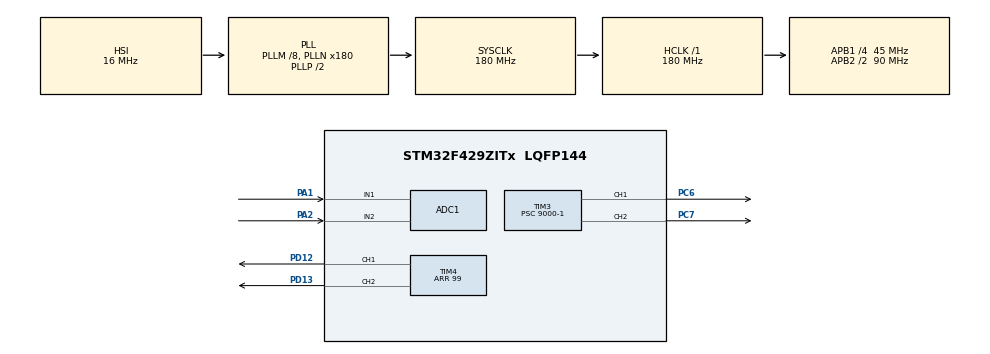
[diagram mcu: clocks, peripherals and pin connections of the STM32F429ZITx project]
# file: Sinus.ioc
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ADC1.Channel-0\#ChannelRegularConversion=ADC_CHANNEL_TEMPSENSOR
ADC1.NbrOfConversionFlag=1
ADC1.Rank-0\#ChannelRegularConversion=1
ADC1.SamplingTime-0\#ChannelRegularConversion=ADC_SAMPLETIME_56CYCLES
ADC1.master=1
Mcu.Family=STM32F4
Mcu.Name=STM32F429ZITx
Mcu.Package=LQFP144
NVIC.PriorityGroup=NVIC_PRIORITYGROUP_4
PA1.Signal=ADCx_IN1
PA13.Mode=Serial_Wire
PA13.Signal=SYS_JTMS-SWDIO
PA14.Mode=Serial_Wire
PA14.Signal=SYS_JTCK-SWCLK
PA2.Signal=ADCx_IN2
PC6.Signal=S_TIM3_CH1
PC7.Signal=S_TIM3_CH2
PD12.Signal=S_TIM4_CH1
PD13.Signal=S_TIM4_CH2
PH0/OSC_IN.Mode=HSE-External-Oscillator
PH0/OSC_IN.Signal=RCC_OSC_IN
PH1/OSC_OUT.Mode=HSE-External-Oscillator
PH1/OSC_OUT.Signal=RCC_OSC_OUT
ProjectManager.HeapSize=0x200
ProjectManager.StackSize=0x400
ProjectManager.TargetToolchain=STM32CubeIDE
RCC.48MHZClocksFreq_Value=90000000
RCC.AHBFreq_Value=180000000
RCC.APB1CLKDivider=RCC_HCLK_DIV4
RCC.APB1Freq_Value=45000000
RCC.APB1TimFreq_Value=90000000
RCC.APB2CLKDivider=RCC_HCLK_DIV2
RCC.APB2Freq_Value=90000000
RCC.APB2TimFreq_Value=180000000
RCC.CortexFreq_Value=180000000
RCC.HCLKFreq_Value=180000000
RCC.HSE_VALUE=8000000
RCC.HSI_VALUE=16000000
RCC.LSE_VALUE=32768
RCC.PLLM=8
RCC.PLLN=180
RCC.SYSCLKFreq_VALUE=180000000
RCC.SYSCLKSource=RCC_SYSCLKSOURCE_PLLCLK
RCC.VCOOutputFreq_Value=360000000
SH.ADCx_IN1.0=ADC1_IN1,IN1
SH.ADCx_IN2.0=ADC1_IN2,IN2
SH.S_TIM3_CH1.0=TIM3_CH1,PWM Generation1 CH1
SH.S_TIM3_CH2.0=TIM3_CH2,PWM Generation2 CH2
SH.S_TIM4_CH1.0=TIM4_CH1,PWM Generation1 CH1
SH.S_TIM4_CH2.0=TIM4_CH2,PWM Generation2 CH2
TIM3.Channel-PWM\ Generation1\ CH1=TIM_CHANNEL_1
TIM3.Channel-PWM\ Generation2\ CH2=TIM_CHANNEL_2
TIM3.Period=100-1
TIM3.Prescaler=9000-1
TIM4.Channel-PWM\ Generation1\ CH1=TIM_CHANNEL_1
TIM4.Channel-PWM\ Generation2\ CH2=TIM_CHANNEL_2
TIM4.Period=99
VP_ADC1_TempSens_Input.Mode=IN-TempSens
VP_TIM3_VS_ClockSourceINT.Mode=Internal
VP_TIM4_VS_ClockSourceINT.Mode=Internal
board=custom

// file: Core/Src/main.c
/* USER CODE BEGIN Header */
/**
  ******************************************************************************
  * @file           : main.c
  * @brief          : Main program body
  ******************************************************************************
  * @attention
  *
  * Copyright (c) 2024 STMicroelectronics.
  * All rights reserved.
  *
  * This software is licensed under terms that can be found in the LICENSE file
  * in the root directory of this software component.
  * If no LICENSE file comes with this software, it is provided AS-IS.
  *
  ******************************************************************************
  */
/* USER CODE END Header */
#include "main.h"

/* USER CODE BEGIN Includes */
#include "math.h"
#define V25  (double) 0.76
#define AVGSLOPE  (double) 2.5
#define PI (double) 3.141592653

/* USER CODE END Includes */

 ADC_HandleTypeDef hadc1;

TIM_HandleTypeDef htim3;
TIM_HandleTypeDef htim4;

void SystemClock_Config(void);
static void MX_GPIO_Init(void);
static void MX_ADC1_Init(void);
static void MX_TIM3_Init(void);
static void MX_TIM4_Init(void);

/* USER CODE BEGIN 0 */
void init(){
	RCC->AHB1ENR |= (RCC_AHB1ENR_GPIOGEN|RCC_AHB1ENR_GPIODEN);
	RCC->APB2ENR |= RCC_APB2ENR_SYSCFGEN;

	GPIOG->MODER &= ~GPIO_MODER_MODER14_1;
	GPIOG->MODER &= ~GPIO_MODER_MODER14_0;

    GPIOG->MODER &= ~GPIO_MODER_MODER13_1;
	GPIOG->MODER &= ~GPIO_MODER_MODER13_0;

	GPIOD->MODER &= ~GPIO_MODER_MODER13_0;
	GPIOD->MODER |= GPIO_MODER_MODER13_1;

	GPIOD->MODER &= ~GPIO_MODER_MODER12_0;
	GPIOD->MODER |= GPIO_MODER_MODER12_1;

}

void initTIM4(){
	RCC->APB1ENR |= RCC_APB1ENR_TIM4EN;
	TIM4->CR1 |= TIM_CR1_CEN;  // Counter enable
	TIM4->CCER |= (TIM_CCER_CC3E | TIM_CCER_CC2E);

}

void initTIM3(){
	RCC->APB1ENR |= RCC_APB1ENR_TIM3EN;
	TIM3->CR1 |= TIM_CR1_CEN;  // Counter enable
	TIM3->CCER |= (TIM_CCER_CC2E | TIM_CCER_CC1E);

}

/* USER CODE END 0 */

int main(void)
{

  /* MCU Configuration--------------------------------------------------------*/

  /* Reset of all peripherals, Initializes the Flash interface and the Systick. */
  HAL_Init();

  /* Configure the system clock */
  SystemClock_Config();

  /* Initialize all configured peripherals */
  MX_GPIO_Init();
  MX_ADC1_Init();
  MX_TIM3_Init();
  MX_TIM4_Init();
  /* USER CODE BEGIN 2 */
  init();
  initTIM4();
  initTIM3();

  ADC_HandleTypeDef hadc1;
  hadc1.Instance = ADC1;
  hadc1.Init.Resolution = ADC_RESOLUTION_12B;
  HAL_ADC_Init(&hadc1);

  ADC_ChannelConfTypeDef sConfig;
  sConfig.Channel = ADC_CHANNEL_1;
  sConfig.Rank = 1;
  sConfig.SamplingTime = ADC_SAMPLETIME_56CYCLES;

  ADC_ChannelConfTypeDef sConfig1;
  sConfig1.Channel = ADC_CHANNEL_TEMPSENSOR;
  sConfig1.Rank = 1;
  sConfig1.SamplingTime = ADC_SAMPLETIME_56CYCLES;

  double intensity = 0;
  double sin_val = 0;
  long double temperature;
  uint16_t ReadValue;

  /* USER CODE END 2 */

  /* Infinite loop */
  /* USER CODE BEGIN WHILE */
  while (1)
  {

	  HAL_ADC_ConfigChannel(&hadc1, &sConfig1);
	  HAL_ADC_Start(&hadc1);
	  HAL_ADC_PollForConversion(&hadc1, HAL_MAX_DELAY);

	  ReadValue = HAL_ADC_GetValue(&hadc1);
	  temperature = (((ReadValue*2.92)/4096 - V25) / (AVGSLOPE))*1000 + 25;
	  temperature = (temperature + 40)*100 / 165;
	  TIM3->CCR1 = temperature;

	  HAL_ADC_ConfigChannel(&hadc1, &sConfig);
	  HAL_ADC_Start(&hadc1);
	  intensity += (PI / 100);
	  if (intensity == 2 * PI) intensity = 0;
	  sin_val = sin(intensity) * 20 +20;
	  TIM4->CCR2 = sin_val;
	  HAL_Delay(10);
	  HAL_ADC_PollForConversion(&hadc1,20);
	  ReadValue = 0;
	  ReadValue = HAL_ADC_GetValue(&hadc1);
	  TIM3->CCR2 = ReadValue;

    /* USER CODE END WHILE */

  }
}

void SystemClock_Config(void)
{
  RCC_OscInitTypeDef RCC_OscInitStruct = {0};
  RCC_ClkInitTypeDef RCC_ClkInitStruct = {0};

  /** Configure the main internal regulator output voltage
  */
  __HAL_RCC_PWR_CLK_ENABLE();
  __HAL_PWR_VOLTAGESCALING_CONFIG(PWR_REGULATOR_VOLTAGE_SCALE1);

  /** Initializes the RCC Oscillators according to the specified parameters
  * in the RCC_OscInitTypeDef structure.
  */
  RCC_OscInitStruct.OscillatorType = RCC_OSCILLATORTYPE_HSI;
  RCC_OscInitStruct.HSIState = RCC_HSI_ON;
  RCC_OscInitStruct.HSICalibrationValue = RCC_HSICALIBRATION_DEFAULT;
  RCC_OscInitStruct.PLL.PLLState = RCC_PLL_ON;
  RCC_OscInitStruct.PLL.PLLSource = RCC_PLLSOURCE_HSI;
  RCC_OscInitStruct.PLL.PLLM = 8;
  RCC_OscInitStruct.PLL.PLLN = 180;
  RCC_OscInitStruct.PLL.PLLP = RCC_PLLP_DIV2;
  RCC_OscInitStruct.PLL.PLLQ = 4;
  if (HAL_RCC_OscConfig(&RCC_OscInitStruct) != HAL_OK)
  {
    Error_Handler();
  }

  /** Activate the Over-Drive mode
  */
  if (HAL_PWREx_EnableOverDrive() != HAL_OK)
  {
    Error_Handler();
  }

  /** Initializes the CPU, AHB and APB buses clocks
  */
  RCC_ClkInitStruct.ClockType = RCC_CLOCKTYPE_HCLK|RCC_CLOCKTYPE_SYSCLK
                              |RCC_CLOCKTYPE_PCLK1|RCC_CLOCKTYPE_PCLK2;
  RCC_ClkInitStruct.SYSCLKSource = RCC_SYSCLKSOURCE_PLLCLK;
  RCC_ClkInitStruct.AHBCLKDivider = RCC_SYSCLK_DIV1;
  RCC_ClkInitStruct.APB1CLKDivider = RCC_HCLK_DIV4;
  RCC_ClkInitStruct.APB2CLKDivider = RCC_HCLK_DIV2;

  if (HAL_RCC_ClockConfig(&RCC_ClkInitStruct, FLASH_LATENCY_5) != HAL_OK)
  {
    Error_Handler();
  }
}

static void MX_ADC1_Init(void)
{

  ADC_ChannelConfTypeDef sConfig = {0};

  /** Configure the global features of the ADC (Clock, Resolution, Data Alignment and number of conversion)
  */
  hadc1.Instance = ADC1;
  hadc1.Init.ClockPrescaler = ADC_CLOCK_SYNC_PCLK_DIV4;
  hadc1.Init.Resolution = ADC_RESOLUTION_12B;
  hadc1.Init.ScanConvMode = DISABLE;
  hadc1.Init.ContinuousConvMode = DISABLE;
  hadc1.Init.DiscontinuousConvMode = DISABLE;
  hadc1.Init.ExternalTrigConvEdge = ADC_EXTERNALTRIGCONVEDGE_NONE;
  hadc1.Init.ExternalTrigConv = ADC_SOFTWARE_START;
  hadc1.Init.DataAlign = ADC_DATAALIGN_RIGHT;
  hadc1.Init.NbrOfConversion = 1;
  hadc1.Init.DMAContinuousRequests = DISABLE;
  hadc1.Init.EOCSelection = ADC_EOC_SINGLE_CONV;
  if (HAL_ADC_Init(&hadc1) != HAL_OK)
  {
    Error_Handler();
  }

  /** Configure for the selected ADC regular channel its corresponding rank in the sequencer and its sample time.
  */
  sConfig.Channel = ADC_CHANNEL_TEMPSENSOR;
  sConfig.Rank = 1;
  sConfig.SamplingTime = ADC_SAMPLETIME_56CYCLES;
  if (HAL_ADC_ConfigChannel(&hadc1, &sConfig) != HAL_OK)
  {
    Error_Handler();
  }

}

static void MX_TIM3_Init(void)
{

  TIM_ClockConfigTypeDef sClockSourceConfig = {0};
  TIM_MasterConfigTypeDef sMasterConfig = {0};
  TIM_OC_InitTypeDef sConfigOC = {0};

  htim3.Instance = TIM3;
  htim3.Init.Prescaler = 9000-1;
  htim3.Init.CounterMode = TIM_COUNTERMODE_UP;
  htim3.Init.Period = 100-1;
  htim3.Init.ClockDivision = TIM_CLOCKDIVISION_DIV1;
  htim3.Init.AutoReloadPreload = TIM_AUTORELOAD_PRELOAD_DISABLE;
  if (HAL_TIM_Base_Init(&htim3) != HAL_OK)
  {
    Error_Handler();
  }
  sClockSourceConfig.ClockSource = TIM_CLOCKSOURCE_INTERNAL;
  if (HAL_TIM_ConfigClockSource(&htim3, &sClockSourceConfig) != HAL_OK)
  {
    Error_Handler();
  }
  if (HAL_TIM_PWM_Init(&htim3) != HAL_OK)
  {
    Error_Handler();
  }
  sMasterConfig.MasterOutputTrigger = TIM_TRGO_RESET;
  sMasterConfig.MasterSlaveMode = TIM_MASTERSLAVEMODE_DISABLE;
  if (HAL_TIMEx_MasterConfigSynchronization(&htim3, &sMasterConfig) != HAL_OK)
  {
    Error_Handler();
  }
  sConfigOC.OCMode = TIM_OCMODE_PWM1;
  sConfigOC.Pulse = 0;
  sConfigOC.OCPolarity = TIM_OCPOLARITY_HIGH;
  sConfigOC.OCFastMode = TIM_OCFAST_DISABLE;
  if (HAL_TIM_PWM_ConfigChannel(&htim3, &sConfigOC, TIM_CHANNEL_1) != HAL_OK)
  {
    Error_Handler();
  }
  if (HAL_TIM_PWM_ConfigChannel(&htim3, &sConfigOC, TIM_CHANNEL_2) != HAL_OK)
  {
    Error_Handler();
  }
  HAL_TIM_MspPostInit(&htim3);

}

static void MX_TIM4_Init(void)
{

  TIM_ClockConfigTypeDef sClockSourceConfig = {0};
  TIM_MasterConfigTypeDef sMasterConfig = {0};
  TIM_OC_InitTypeDef sConfigOC = {0};

  htim4.Instance = TIM4;
  htim4.Init.Prescaler = 0;
  htim4.Init.CounterMode = TIM_COUNTERMODE_UP;
  htim4.Init.Period = 99;
  htim4.Init.ClockDivision = TIM_CLOCKDIVISION_DIV1;
  htim4.Init.AutoReloadPreload = TIM_AUTORELOAD_PRELOAD_DISABLE;
  if (HAL_TIM_Base_Init(&htim4) != HAL_OK)
  {
    Error_Handler();
  }
  sClockSourceConfig.ClockSource = TIM_CLOCKSOURCE_INTERNAL;
  if (HAL_TIM_ConfigClockSource(&htim4, &sClockSourceConfig) != HAL_OK)
  {
    Error_Handler();
  }
  if (HAL_TIM_PWM_Init(&htim4) != HAL_OK)
  {
    Error_Handler();
  }
  sMasterConfig.MasterOutputTrigger = TIM_TRGO_RESET;
  sMasterConfig.MasterSlaveMode = TIM_MASTERSLAVEMODE_DISABLE;
  if (HAL_TIMEx_MasterConfigSynchronization(&htim4, &sMasterConfig) != HAL_OK)
  {
    Error_Handler();
  }
  sConfigOC.OCMode = TIM_OCMODE_PWM1;
  sConfigOC.Pulse = 0;
  sConfigOC.OCPolarity = TIM_OCPOLARITY_HIGH;
  sConfigOC.OCFastMode = TIM_OCFAST_DISABLE;
  if (HAL_TIM_PWM_ConfigChannel(&htim4, &sConfigOC, TIM_CHANNEL_1) != HAL_OK)
  {
    Error_Handler();
  }
  if (HAL_TIM_PWM_ConfigChannel(&htim4, &sConfigOC, TIM_CHANNEL_2) != HAL_OK)
  {
    Error_Handler();
  }
  HAL_TIM_MspPostInit(&htim4);

}

static void MX_GPIO_Init(void)
{

  /* GPIO Ports Clock Enable */
  __HAL_RCC_GPIOH_CLK_ENABLE();
  __HAL_RCC_GPIOA_CLK_ENABLE();
  __HAL_RCC_GPIOD_CLK_ENABLE();
  __HAL_RCC_GPIOC_CLK_ENABLE();

}

void Error_Handler(void)
{
  __disable_irq();
  while (1)
  {
  }
}
